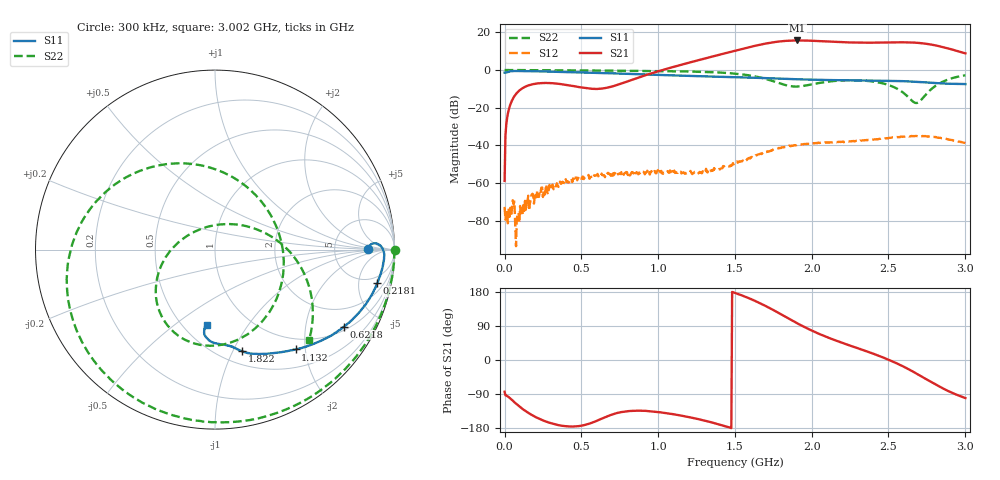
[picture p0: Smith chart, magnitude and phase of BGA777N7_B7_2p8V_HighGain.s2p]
! S-Parameter file
! MATLAB S2P writer
! (c) DICE Linz
! Infineon Technologies
! Date: 07.08.2009 12:50
!BGA777L7
!2.80V; 2.80V;
!25.00 deg
# MHZ S MA R 50
!  S11  S21  S12  S22
!  f  mag  angle  mag  angle  mag  angle  mag  angle
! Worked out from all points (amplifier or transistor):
!   566 points, 300 kHz to 3.002 GHz, reference 50 ohm
!   highest |S21| = 15.7 dB at 1.907 GHz (marker M1)
!   |S21| within 3 dB of that: 1.623 GHz to 2.829 GHz (1.206 GHz wide, 54.2 % of centre)
!   unconditionally stable (mu >= 1): 4.241 MHz to 25.2 MHz; 30.12 MHz to end of sweep
!   at 499.7 MHz: K = 13.61, MAG = 10.3 dB, |S12| = -58.5 dB
!   at 1.504 GHz: K = 10.08, MAG = 16.9 dB, |S12| = -49.5 dB
!   at 3.002 GHz: K = 5.82, MAG = 13.2 dB, |S12| = -38.8 dB
!   S11 on the Smith chart (normalised r, x): 300 kHz: 13, +0; 218.1 MHz: 3.39, -8.51; 621.8 MHz: 1.14, -3.26; 1.132 GHz: 0.80, -1.81; 1.822 GHz: 0.63, -1.08; 3.002 GHz: 0.64, -0.66
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0.3  0.8551 0.1  0.001141 -83.7  0.0002329 69.1  1 -0.1
16.23694  0.8704 2.0  0.05218 -94.9  0.0001688 176.2  0.9996 -2.3
48.11081  0.9355 0.1  0.1546 -105.3  0.000197 38.5  0.999 -6.7
85.297  0.9429 -3.5  0.2599 -118.9  0.0001496 80.0  0.9973 -11.8
218.1048  0.9231 -11.6  0.4428 -153.8  0.0004313 99.4  0.9898 -29.6
504.9697  0.8656 -25.6  0.3423 -173.0  0.001446 80.2  0.9745 -64.6
621.8406  0.837 -30.8  0.3181 -156.7  0.00176 74.4  0.9693 -77.7
1004.327  0.7433 -46.5  0.9352 -137.6  0.001829 62.7  0.9416 -117.1
1131.823  0.7149 -51.1  1.316 -145.5  0.002013 65.3  0.9265 -130.3
1349.627  0.6712 -58.8  2.259 -164.7  0.002205 84.7  0.8769 -156.2
1503.684  0.6448 -64.2  3.277 176.6  0.003346 105.5  0.8004 179.2
1684.303  0.6142 -70.8  4.892 145.8  0.006475 97.9  0.6067 133.7
1753.363  0.5998 -73.1  5.472 131.3  0.007924 93.2  0.5004 106.9
1822.423  0.5854 -75.2  5.896 115.7  0.009014 82.5  0.4066 71.9
1907.42  0.5689 -77.4  6.103 96.6  0.01042 69.0  0.3651 20.2
2003.042  0.5533 -79.3  5.978 77.3  0.01134 56.6  0.4181 -28.2
2204.91  0.5361 -83.3  5.473 44.5  0.01267 37.7  0.531 -85.5
2502.399  0.5187 -91.0  5.404 0.5  0.01572 10.3  0.399 -145.8
2635.207  0.497 -94.9  5.418 -25.2  0.0172 -9.0  0.1811 158.0
2762.702  0.4645 -97.5  4.869 -54.4  0.01719 -32.4  0.2678 23.7
2890.198  0.4339 -97.3  3.741 -81.9  0.01432 -53.2  0.5636 -21.5
3001.757  0.4242 -96.2  2.768 -100.5  0.01151 -67.1  0.7266 -44.0
